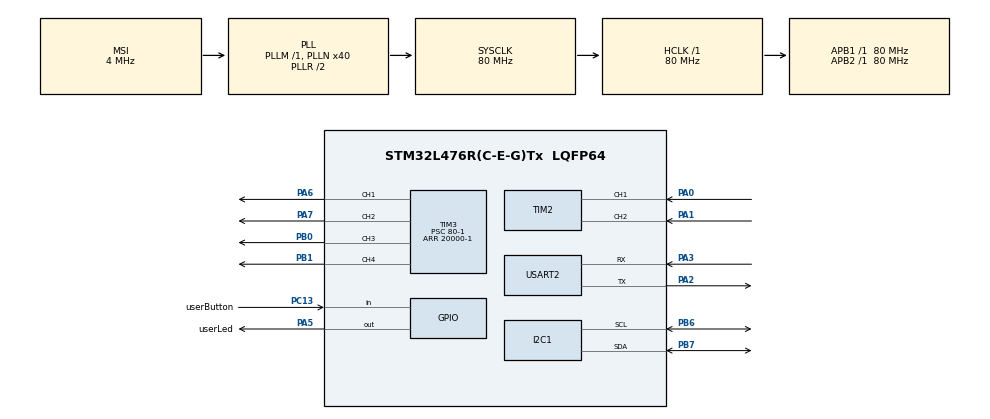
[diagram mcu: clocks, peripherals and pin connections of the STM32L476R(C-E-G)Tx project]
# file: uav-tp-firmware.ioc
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I2C1.Timing=0x10D19CE4
Mcu.Family=STM32L4
Mcu.Name=STM32L476R(C-E-G)Tx
Mcu.Package=LQFP64
NVIC.PriorityGroup=NVIC_PRIORITYGROUP_4
NVIC.TIM6_DAC_IRQn=true\:0\:0\:false\:false\:true\:true\:true\:true
PA0.Signal=S_TIM2_CH1
PA1.Signal=S_TIM2_CH2
PA13\ (JTMS-SWDIO).Mode=Serial_Wire
PA13\ (JTMS-SWDIO).Signal=SYS_JTMS-SWDIO
PA14\ (JTCK-SWCLK).Mode=Serial_Wire
PA14\ (JTCK-SWCLK).Signal=SYS_JTCK-SWCLK
PA2.Mode=Asynchronous
PA2.Signal=USART2_TX
PA3.Mode=Asynchronous
PA3.Signal=USART2_RX
PA5.GPIO_Label=userLed
PA5.Signal=GPIO_Output
PA6.Signal=S_TIM3_CH1
PA7.Signal=S_TIM3_CH2
PB0.Signal=S_TIM3_CH3
PB1.Signal=S_TIM3_CH4
PB6.Mode=I2C
PB6.Signal=I2C1_SCL
PB7.Mode=I2C
PB7.Signal=I2C1_SDA
PC13.GPIO_Label=userButton
PC13.Signal=GPIO_Input
ProjectManager.HeapSize=0x200
ProjectManager.StackSize=0x400
ProjectManager.TargetToolchain=Makefile
RCC.AHBFreq_Value=80000000
RCC.APB1Freq_Value=80000000
RCC.APB1TimFreq_Value=80000000
RCC.APB2Freq_Value=80000000
RCC.APB2TimFreq_Value=80000000
RCC.CortexFreq_Value=80000000
RCC.HCLKFreq_Value=80000000
RCC.HSE_VALUE=8000000
RCC.HSI_VALUE=16000000
RCC.LSE_VALUE=32768
RCC.MSI_VALUE=4000000
RCC.PLLN=40
RCC.SYSCLKFreq_VALUE=80000000
RCC.SYSCLKSource=RCC_SYSCLKSOURCE_PLLCLK
RCC.VCOOutputFreq_Value=160000000
SH.S_TIM2_CH1.0=TIM2_CH1,Encoder_Interface
SH.S_TIM2_CH2.0=TIM2_CH2,Encoder_Interface
SH.S_TIM3_CH1.0=TIM3_CH1,PWM Generation1 CH1
SH.S_TIM3_CH2.0=TIM3_CH2,PWM Generation2 CH2
SH.S_TIM3_CH3.0=TIM3_CH3,PWM Generation3 CH3
SH.S_TIM3_CH4.0=TIM3_CH4,PWM Generation4 CH4
TIM3.Channel-PWM\ Generation1\ CH1=TIM_CHANNEL_1
TIM3.Channel-PWM\ Generation2\ CH2=TIM_CHANNEL_2
TIM3.Channel-PWM\ Generation3\ CH3=TIM_CHANNEL_3
TIM3.Channel-PWM\ Generation4\ CH4=TIM_CHANNEL_4
TIM3.Period=20000-1
TIM3.Prescaler=80-1
TIM6.Period=10000-1
TIM6.Prescaler=80-1
USART2.VirtualMode-Asynchronous=VM_ASYNC
VP_TIM3_VS_ClockSourceINT.Mode=Internal
VP_TIM6_VS_ClockSourceINT.Mode=Enable_Timer
board=custom

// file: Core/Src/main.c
/* USER CODE BEGIN Header */
/**
  ******************************************************************************
  * @file           : main.c
  * @brief          : Main program body
  ******************************************************************************
  * @attention
  *
  * Copyright (c) 2026 STMicroelectronics.
  * All rights reserved.
  *
  * This software is licensed under terms that can be found in the LICENSE file
  * in the root directory of this software component.
  * If no LICENSE file comes with this software, it is provided AS-IS.
  *
  ******************************************************************************
  */
/* USER CODE END Header */
#include "main.h"
#include "i2c.h"
#include "stm32l4xx_hal_gpio.h"
#include "tim.h"
#include "usart.h"
#include "gpio.h"

/* USER CODE BEGIN Includes */

#include <stdio.h>
#include "f405esc.h"
#include "mpu6050.h"

//#include "enable_printf.h"

/* USER CODE END Includes */

void SystemClock_Config(void);

/* USER CODE BEGIN 0 */

uint8_t userButtonPressed(void){
  if(HAL_GPIO_ReadPin(userButton_GPIO_Port, userButton_Pin) == GPIO_PIN_RESET)
    return 1;
  else
    return 0;
}

uint16_t getEncoderVal(void){
  return __HAL_TIM_GET_COUNTER(&htim2);
}

uint8_t selectedEscChannel = 0;
uint8_t userButtonPrevState = 0;
void escManualControl(void){
  //Selecting channel
  if(userButtonPressed() == 1){
    if(userButtonPrevState == 0){
      userButtonPrevState = 1;
      if(selectedEscChannel < 3) selectedEscChannel++;
      else selectedEscChannel = 0;
    }
  }
  else
    userButtonPrevState = 0;

  int16_t encoderVal = getEncoderVal();
  printf(">encoder:%d\n",encoderVal);
  printf(">selectedChannel:%d\n",selectedEscChannel);

  f405esc_setChannelPwmValue(selectedEscChannel, 1000+encoderVal);
  f405esc_printPwmValues();

  HAL_Delay(20);
}

volatile uint8_t tim6InterruptCntr = 0;
int16_t gyroRaw[3];
int16_t gyroBiased[3];
float gyroScaled[3];
float rpy[3];
float accel[2];
uint8_t compEnabled[2];

void HAL_TIM_PeriodElapsedCallback(TIM_HandleTypeDef *htim){
  if(htim == &htim6){
    mpu6050_readGyro(gyroRaw, gyroBiased, gyroScaled, rpy, accel, compEnabled, 0.01f);
    tim6InterruptCntr++;
  }
}

/* USER CODE END 0 */

int main(void)
{

  /* MCU Configuration--------------------------------------------------------*/

  /* Reset of all peripherals, Initializes the Flash interface and the Systick. */
  HAL_Init();

  /* Configure the system clock */
  SystemClock_Config();

  /* Initialize all configured peripherals */
  MX_GPIO_Init();
  MX_TIM3_Init();
  MX_USART2_UART_Init();
  MX_TIM2_Init();
  MX_I2C1_Init();
  MX_TIM6_Init();
  /* USER CODE BEGIN 2 */

  // Inits
  mpu6050_init(&hi2c1, 0x68<<1);
  HAL_Delay(100);
  mpu6050_calibrateGyro(1000);

  f405esc_init(&htim3);

  HAL_TIM_Base_Start_IT(&htim6);
  HAL_TIM_Encoder_Start(&htim2, TIM_CHANNEL_ALL);

  HAL_GPIO_WritePin(userLed_GPIO_Port, userLed_Pin, GPIO_PIN_SET);

  /* USER CODE END 2 */

  /* Infinite loop */
  /* USER CODE BEGIN WHILE */
  while (1)
  {

    if(tim6InterruptCntr){
      // printf(">gyroRawX:%d\n",gyroRaw[0]);
      // printf(">gyroRawY:%d\n",gyroRaw[1]);
      // printf(">gyroRawZ:%d\n",gyroRaw[2]);
      // printf(">gyroBiasedX:%d\n",gyroBiased[0]);
      // printf(">gyroBiasedY:%d\n",gyroBiased[1]);
      // printf(">gyroBiasedZ:%d\n",gyroBiased[2]);
      // printf(">gyroScaledX:%f\n",gyroScaled[0]);
      // printf(">gyroScaledY:%f\n",gyroScaled[1]);
      // printf(">gyroScaledZ:%f\n",gyroScaled[2]);
      printf(">roll:%f\n",rpy[0]);
      printf(">pitch:%f\n",rpy[1]);
      printf(">yaw:%f\n",rpy[2]);
      printf(">accelRoll:%f\n",accel[0]);
      printf(">accelPitch:%f\n",accel[1]);
      printf(">rollCompensation:%d\n", compEnabled[0]);
      printf(">pitchCompensation:%d\n", compEnabled[1]);

      tim6InterruptCntr = 0;
    }

    /* USER CODE END WHILE */

  }
}

void SystemClock_Config(void)
{
  RCC_OscInitTypeDef RCC_OscInitStruct = {0};
  RCC_ClkInitTypeDef RCC_ClkInitStruct = {0};

  /** Configure the main internal regulator output voltage
  */
  if (HAL_PWREx_ControlVoltageScaling(PWR_REGULATOR_VOLTAGE_SCALE1) != HAL_OK)
  {
    Error_Handler();
  }

  /** Initializes the RCC Oscillators according to the specified parameters
  * in the RCC_OscInitTypeDef structure.
  */
  RCC_OscInitStruct.OscillatorType = RCC_OSCILLATORTYPE_MSI;
  RCC_OscInitStruct.MSIState = RCC_MSI_ON;
  RCC_OscInitStruct.MSICalibrationValue = 0;
  RCC_OscInitStruct.MSIClockRange = RCC_MSIRANGE_6;
  RCC_OscInitStruct.PLL.PLLState = RCC_PLL_ON;
  RCC_OscInitStruct.PLL.PLLSource = RCC_PLLSOURCE_MSI;
  RCC_OscInitStruct.PLL.PLLM = 1;
  RCC_OscInitStruct.PLL.PLLN = 40;
  RCC_OscInitStruct.PLL.PLLP = RCC_PLLP_DIV7;
  RCC_OscInitStruct.PLL.PLLQ = RCC_PLLQ_DIV2;
  RCC_OscInitStruct.PLL.PLLR = RCC_PLLR_DIV2;
  if (HAL_RCC_OscConfig(&RCC_OscInitStruct) != HAL_OK)
  {
    Error_Handler();
  }

  /** Initializes the CPU, AHB and APB buses clocks
  */
  RCC_ClkInitStruct.ClockType = RCC_CLOCKTYPE_HCLK|RCC_CLOCKTYPE_SYSCLK
                              |RCC_CLOCKTYPE_PCLK1|RCC_CLOCKTYPE_PCLK2;
  RCC_ClkInitStruct.SYSCLKSource = RCC_SYSCLKSOURCE_PLLCLK;
  RCC_ClkInitStruct.AHBCLKDivider = RCC_SYSCLK_DIV1;
  RCC_ClkInitStruct.APB1CLKDivider = RCC_HCLK_DIV1;
  RCC_ClkInitStruct.APB2CLKDivider = RCC_HCLK_DIV1;

  if (HAL_RCC_ClockConfig(&RCC_ClkInitStruct, FLASH_LATENCY_4) != HAL_OK)
  {
    Error_Handler();
  }
}

void Error_Handler(void)
{
  __disable_irq();
  while (1)
  {
  }
}
